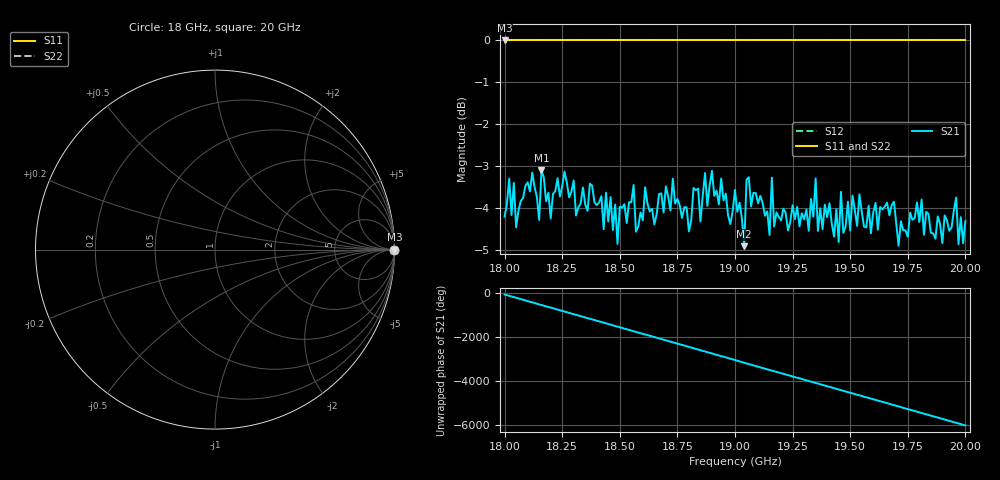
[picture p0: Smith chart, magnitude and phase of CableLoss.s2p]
!Agilent N9918A: A.07.57
!Date: Wednesday, 05 August 2020 18:01:19
!Timezone: (GMT-08:00) Pacific Time (US & Canada)
!Model: N9918A
!Serial: MY53103598
!GPS Latitude:
!GPS Longitude:
!GPS TimeStamp: 0001-01-01 00:00:00Z
!GPS Seconds Since Last Read: 0
!CHECKSUM:0755725083
!Correction: S11()S21(Rdy)S12()S22()
!S2P File: Measurements:S11,S21,S12,S22:
# Hz S DB R 50
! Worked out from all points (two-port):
!   201 points, 18 GHz to 20 GHz, reference 50 ohm
!   highest |S21| = -3.10 dB at 18.16 GHz (marker M1); lowest = -4.9 dB at 19.04 GHz (marker M2)
!   |S21| within 3 dB of the highest: start of sweep to end of sweep
!   lowest |S11| = 0.0 dB at 18 GHz (marker M3)
!   |S11| at or under -10 dB: nowhere
!   |S22| runs from 0.0 to 0.0 dB; largest |S21 - S12| = 1.7
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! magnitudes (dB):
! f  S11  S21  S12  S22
! 18 GHz  0.0  -4.2  0.0  0.0
! 18.12 GHz  0.0  -3.2  0.0  0.0
! 18.15 GHz  0.0  -4.3  0.0  0.0
! 18.16 GHz  0.0  -3.1  0.0  0.0
! 18.2 GHz  0.0  -4.2  0.0  0.0
! 18.34 GHz  0.0  -3.5  0.0  0.0
! 18.49 GHz  0.0  -4.9  0.0  0.0
! 18.56 GHz  0.0  -3.4  0.0  0.0
! 18.57 GHz  0.0  -4.6  0.0  0.0
! 18.67 GHz  0.0  -3.7  0.0  0.0
! 18.8 GHz  0.0  -4.6  0.0  0.0
! 18.87 GHz  0.0  -3.2  0.0  0.0
! 19 GHz  0.0  -3.6  0.0  0.0
! 19.04 GHz  0.0  -4.9  0.0  0.0
! 19.06 GHz  0.0  -3.3  0.0  0.0
! 19.15 GHz  0.0  -4.6  0.0  0.0
! 19.16 GHz  0.0  -3.3  0.0  0.0
! 19.17 GHz  0.0  -4.4  0.0  0.0
! 19.34 GHz  0.0  -4.2  0.0  0.0
! 19.35 GHz  0.0  -3.3  0.0  0.0
! 19.67 GHz  0.0  -4.2  0.0  0.0
! 20 GHz  0.0  -4.3  0.0  0.0
